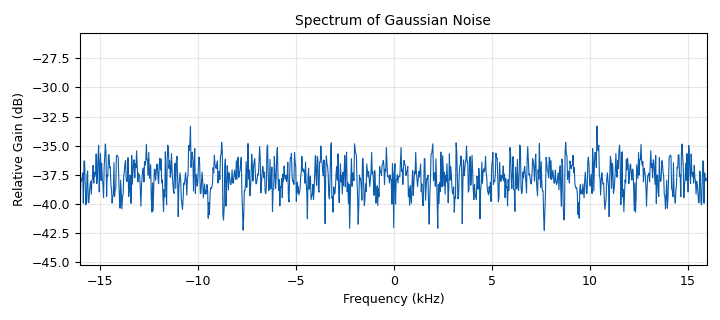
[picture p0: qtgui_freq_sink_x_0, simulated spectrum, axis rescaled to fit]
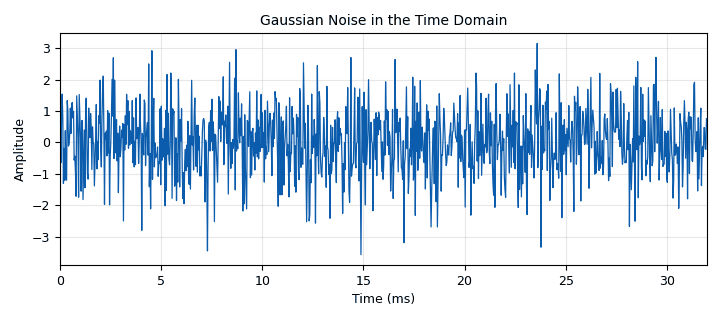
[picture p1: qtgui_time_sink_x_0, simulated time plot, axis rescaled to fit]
options:
  parameters:
    author: Dhrubjun
    generate_options: qt_gui
    id: exp1
    output_language: python
    title: Noise
  states: {}

blocks:
- name: samp_rate
  id: variable
  parameters:
    value: '32000'
  states: {}
- name: analog_noise_source_x_0
  id: analog_noise_source_x
  parameters:
    amp: '1'
    noise_type: analog.GR_GAUSSIAN
    seed: '0'
    type: float
  states: {}
- name: blocks_throttle2_0
  id: blocks_throttle2
  parameters:
    samples_per_second: samp_rate
    type: float
  states: {}
- name: qtgui_freq_sink_x_0
  id: qtgui_freq_sink_x
  parameters:
    average: '0.05'
    bw: samp_rate
    fc: '0'
    fftsize: '1024'
    name: Spectrum of Gaussian Noise
    type: float
    wintype: window.WIN_BLACKMAN
  states: {}
- name: qtgui_time_sink_x_0
  id: qtgui_time_sink_x
  parameters:
    name: Gaussian Noise in the Time Domain
    size: '1024'
    srate: samp_rate
    type: float
  states: {}

connections:
- [analog_noise_source_x_0, '0', blocks_throttle2_0, '0']
- [blocks_throttle2_0, '0', qtgui_freq_sink_x_0, '0']
- [blocks_throttle2_0, '0', qtgui_time_sink_x_0, '0']

metadata:
  file_format: 1
  grc_version: 3.10.12.0
